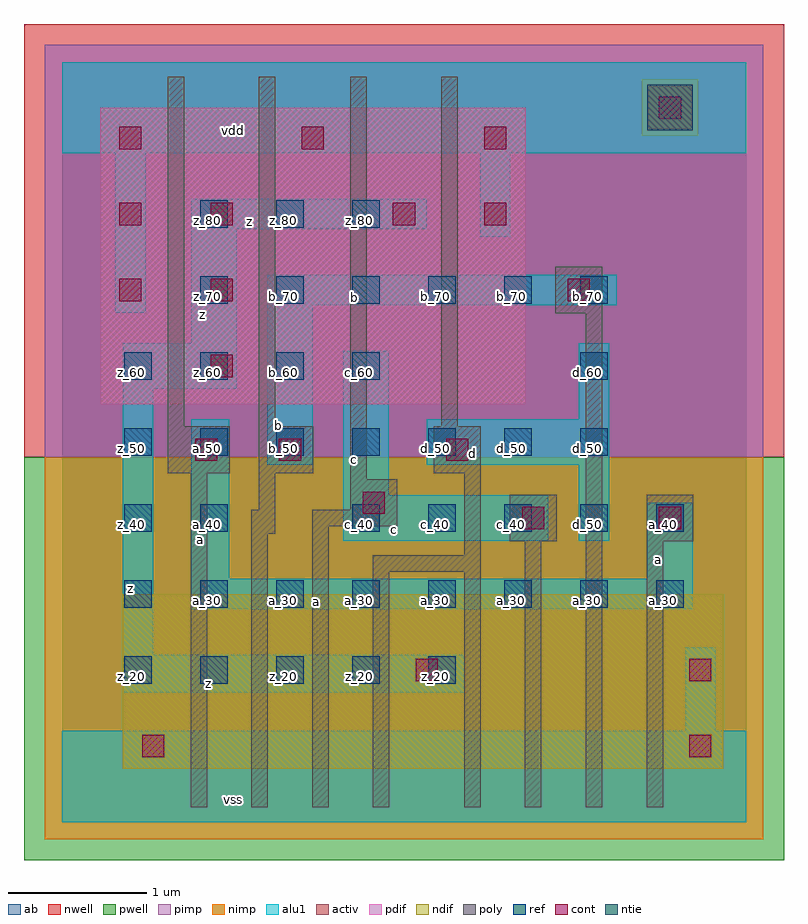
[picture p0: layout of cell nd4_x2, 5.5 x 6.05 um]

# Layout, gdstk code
import gdstk
lib = gdstk.Library(unit=1e-6, precision=2.5e-09)
def R(c, l, rs):  # rectangles x0, y0, x1, y1
    for r in rs: c.add(gdstk.rectangle(r[:2], r[2:], *l))
def A(c, l, x, y, w, h, nx, ny, dx, dy):  # array of equal rectangles
    R(c, l, [(x+i*dx, y+j*dy, x+i*dx+w, y+j*dy+h) for i in range(nx) for j in range(ny)])
ndif = (3, 0)
pdif = (4, 0)
ntie = (5, 0)
ref = (24, 0)
cont = (25, 0)
pwell = (41, 0)
nwell = (42, 0)
activ = (43, 0)
pimp = (44, 0)
nimp = (45, 0)
poly = (46, 0)
alu1 = (49, 0)
ab = (63, 0)

nd4_x2 = lib.new_cell('nd4_x2')
R(nd4_x2, ndif, [(0.44,0.385,4.785,1.65)])
R(nd4_x2, pdif, [(0.275,3.025,3.355,5.17)])
R(nd4_x2, ntie, [(4.235,5.005,4.565,5.335)])
A(nd4_x2, ref, 0.45, 1, 0.2, 0.2, 5, 1, 0.55, 0)
A(nd4_x2, ref, 0.45, 1.55, 0.2, 0.2, 8, 1, 0.55, 0)
A(nd4_x2, ref, 2.1, 2.1, 0.2, 0.2, 5, 1, 0.55, 0)
A(nd4_x2, ref, 0.45, 2.65, 0.2, 0.2, 7, 1, 0.55, 0)
A(nd4_x2, ref, 0.45, 3.2, 0.2, 0.2, 4, 1, 0.55, 0)
A(nd4_x2, ref, 1, 3.75, 0.2, 0.2, 6, 1, 0.55, 0)
A(nd4_x2, ref, 1, 4.3, 0.2, 0.2, 3, 1, 0.55, 0)
R(nd4_x2, ref, [(0.45,2.1,0.65,2.3), (1,2.1,1.2,2.3), (3.75,3.2,3.95,3.4)])
A(nd4_x2, cont, 1.075, 3.22, 0.16, 0.16, 1, 3, 0, 0.55)
A(nd4_x2, cont, 0.415, 4.87, 0.16, 0.16, 3, 1, 1.32, 0)
R(nd4_x2, cont, [(0.58,0.47,0.74,0.63), (4.54,0.47,4.7,0.63), (2.56,1.02,2.72,1.18), (4.54,1.02,4.7,1.18), (3.33,2.12,3.49,2.28), (4.32,2.12,4.48,2.28), (2.175,2.23,2.335,2.39), (0.965,2.615,1.125,2.775), (1.57,2.615,1.73,2.775), (2.78,2.615,2.94,2.775), (0.415,3.77,0.575,3.93), (3.66,3.77,3.82,3.93), (0.415,4.32,0.575,4.48), (2.395,4.32,2.555,4.48), (3.055,4.32,3.215,4.48), (4.32,5.09,4.48,5.25)])
R(nd4_x2, pwell, [(-0.275,-0.275,5.225,2.64)])
R(nd4_x2, nwell, [(-0.275,2.64,5.225,5.775)])
R(nd4_x2, activ, [(0.44,0.385,4.785,1.65), (0.275,3.025,3.355,5.17), (4.235,5.005,4.565,5.335)])
R(nd4_x2, pimp, [(-0.125,2.64,5.075,4.965), (-0.125,4.965,4.195,5.375), (4.605,4.965,5.075,5.375), (-0.125,5.375,5.075,5.625)])
R(nd4_x2, nimp, [(-0.125,-0.125,5.075,2.64), (4.195,4.965,4.605,5.375)])
R(nd4_x2, poly, [(0.93,0.105,1.05,2.525), (1.37,0.105,1.49,2.085), (1.81,0.105,1.93,2.14), (2.25,0.105,2.37,1.81), (2.91,0.105,3.03,1.81), (3.35,0.105,3.47,2.03), (3.79,0.105,3.91,3.68), (4.23,0.105,4.35,2.03), (2.25,1.81,3.03,1.93), (2.91,1.93,3.03,2.525), (3.24,2.03,3.58,2.37), (4.23,2.03,4.57,2.37), (1.37,2.085,1.545,2.26), (1.81,2.14,2.425,2.26), (1.425,2.26,1.545,2.525), (2.085,2.26,2.425,2.48), (2.085,2.48,2.205,5.395), (0.765,2.525,1.215,2.865), (1.425,2.525,1.82,2.865), (2.69,2.525,3.03,2.865), (0.765,2.865,0.885,5.395), (1.425,2.865,1.545,5.395), (2.745,2.865,2.865,5.395), (3.57,3.68,3.91,4.02)])
R(nd4_x2, alu1, [(0,0,4.95,0.66), (4.51,0.66,4.73,1.265), (0.44,0.935,2.915,1.21), (0.44,1.21,0.66,3.135), (0.935,1.54,4.565,1.76), (0.935,1.76,1.21,2.915), (4.235,1.76,4.565,2.31), (2.035,2.035,3.52,2.365), (3.74,2.035,3.96,2.585), (2.035,2.365,2.365,3.41), (1.485,2.585,1.815,3.74), (2.64,2.585,3.96,2.915), (3.74,2.915,3.96,3.465), (0.44,3.135,1.265,3.465), (0.935,3.465,1.265,4.29), (0.385,3.685,0.605,4.84), (1.485,3.74,4.015,3.96), (3.025,4.235,3.245,4.84), (0.935,4.29,2.64,4.51), (0,4.84,4.95,5.5)])
R(nd4_x2, ab, [(0,0,4.95,5.5)])
nd4_x2.add(gdstk.Label('vss', (1.2375,0.165), layer=49, texttype=0))
nd4_x2.add(gdstk.Label('z', (1.0575,1.0025), layer=49, texttype=0))
nd4_x2.add(gdstk.Label('a', (1.8425,1.595), layer=49, texttype=0))
nd4_x2.add(gdstk.Label('a', (4.3175,1.8975), layer=49, texttype=0))
nd4_x2.add(gdstk.Label('c', (2.405,2.1175), layer=49, texttype=0))
nd4_x2.add(gdstk.Label('d', (2.97,2.6675), layer=49, texttype=0))
nd4_x2.add(gdstk.Label('c', (2.1175,2.625), layer=49, texttype=0))
nd4_x2.add(gdstk.Label('b', (1.5675,2.8725), layer=49, texttype=0))
nd4_x2.add(gdstk.Label('a', (1.0025,2.0475), layer=49, texttype=0))
nd4_x2.add(gdstk.Label('z', (0.495,1.69), layer=49, texttype=0))
nd4_x2.add(gdstk.Label('b', (2.1175,3.795), layer=49, texttype=0))
nd4_x2.add(gdstk.Label('z', (1.0175,3.67), layer=49, texttype=0))
nd4_x2.add(gdstk.Label('z', (1.36,4.345), layer=49, texttype=0))
nd4_x2.add(gdstk.Label('vdd', (1.2375,5.005), layer=49, texttype=0))
nd4_x2.add(gdstk.Label('d_50', (3.8,2.15), layer=24, texttype=0))
nd4_x2.add(gdstk.Label('d_50', (3.8,2.7), layer=24, texttype=0))
nd4_x2.add(gdstk.Label('d_60', (3.8,3.25), layer=24, texttype=0))
nd4_x2.add(gdstk.Label('b_70', (1.6,3.8), layer=24, texttype=0))
nd4_x2.add(gdstk.Label('a_40', (1.05,2.15), layer=24, texttype=0))
nd4_x2.add(gdstk.Label('a_30', (1.05,1.6), layer=24, texttype=0))
nd4_x2.add(gdstk.Label('a_30', (1.6,1.6), layer=24, texttype=0))
nd4_x2.add(gdstk.Label('a_30', (2.15,1.6), layer=24, texttype=0))
nd4_x2.add(gdstk.Label('a_30', (2.7,1.6), layer=24, texttype=0))
nd4_x2.add(gdstk.Label('a_30', (3.25,1.6), layer=24, texttype=0))
nd4_x2.add(gdstk.Label('a_30', (3.8,1.6), layer=24, texttype=0))
nd4_x2.add(gdstk.Label('a_30', (4.35,1.6), layer=24, texttype=0))
nd4_x2.add(gdstk.Label('a_40', (4.35,2.15), layer=24, texttype=0))
nd4_x2.add(gdstk.Label('c_40', (3.25,2.15), layer=24, texttype=0))
nd4_x2.add(gdstk.Label('c_40', (2.7,2.15), layer=24, texttype=0))
nd4_x2.add(gdstk.Label('c_40', (2.15,2.15), layer=24, texttype=0))
nd4_x2.add(gdstk.Label('d_50', (3.25,2.7), layer=24, texttype=0))
nd4_x2.add(gdstk.Label('d_50', (2.7,2.7), layer=24, texttype=0))
nd4_x2.add(gdstk.Label('z_20', (2.7,1.05), layer=24, texttype=0))
nd4_x2.add(gdstk.Label('z_20', (2.15,1.05), layer=24, texttype=0))
nd4_x2.add(gdstk.Label('z_20', (1.6,1.05), layer=24, texttype=0))
nd4_x2.add(gdstk.Label('z_20', (1.05,1.05), layer=24, texttype=0))
nd4_x2.add(gdstk.Label('z_20', (0.5,1.05), layer=24, texttype=0))
nd4_x2.add(gdstk.Label('z_40', (0.5,2.15), layer=24, texttype=0))
nd4_x2.add(gdstk.Label('c_60', (2.15,3.25), layer=24, texttype=0))
nd4_x2.add(gdstk.Label('b_60', (1.6,3.25), layer=24, texttype=0))
nd4_x2.add(gdstk.Label('a_50', (1.05,2.7), layer=24, texttype=0))
nd4_x2.add(gdstk.Label('z_60', (0.5,3.25), layer=24, texttype=0))
nd4_x2.add(gdstk.Label('z_80', (2.15,4.35), layer=24, texttype=0))
nd4_x2.add(gdstk.Label('z_50', (0.5,2.7), layer=24, texttype=0))
nd4_x2.add(gdstk.Label('z_80', (1.05,4.35), layer=24, texttype=0))
nd4_x2.add(gdstk.Label('b_70', (2.15,3.8), layer=24, texttype=0))
nd4_x2.add(gdstk.Label('z_80', (1.6,4.35), layer=24, texttype=0))
nd4_x2.add(gdstk.Label('b_70', (2.7,3.8), layer=24, texttype=0))
nd4_x2.add(gdstk.Label('b_70', (3.25,3.8), layer=24, texttype=0))
nd4_x2.add(gdstk.Label('b_70', (3.8,3.8), layer=24, texttype=0))
nd4_x2.add(gdstk.Label('b_50', (1.6,2.7), layer=24, texttype=0))
nd4_x2.add(gdstk.Label('c_50', (2.15,2.7), layer=24, texttype=0))
nd4_x2.add(gdstk.Label('z_30', (0.5,1.6), layer=24, texttype=0))
nd4_x2.add(gdstk.Label('z_70', (1.05,3.8), layer=24, texttype=0))
nd4_x2.add(gdstk.Label('z_60', (1.05,3.25), layer=24, texttype=0))

lib.write_gds('nd4_x2.gds')
